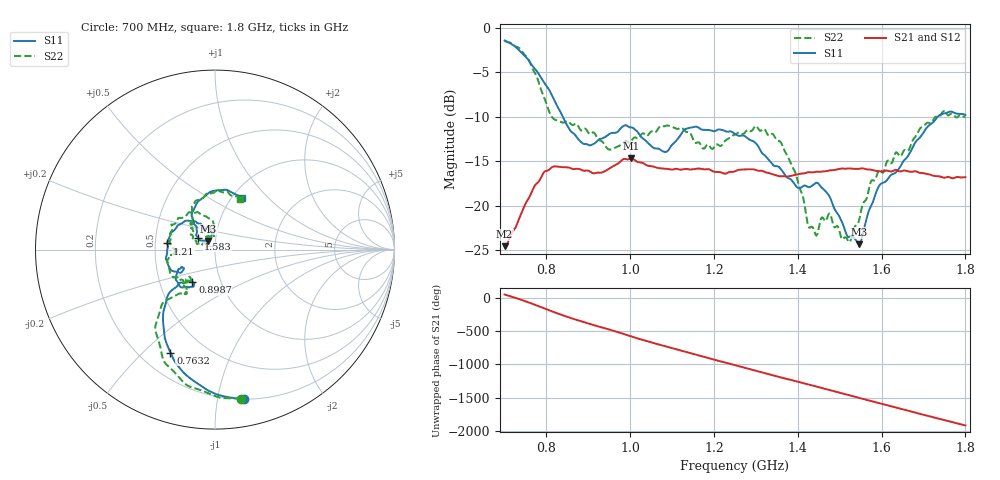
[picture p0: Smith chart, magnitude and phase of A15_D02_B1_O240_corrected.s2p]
! Created with skrf 1.9.0 (http://scikit-rf.org).
# Hz S RI R 50.0
!freq ReS11 ImS11 ReS21 ImS21 ReS12 ImS12 ReS22 ImS22
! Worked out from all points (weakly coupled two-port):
!   1601 points, 700 MHz to 1.8 GHz, reference 50 ohm
!   highest |S21| = -14.68 dB at 1.002 GHz (marker M1); lowest = -24.5 dB at 700 MHz (marker M2)
!   lowest |S11| = -24.3 dB at 1.547 GHz (marker M3), VSWR 1.13, Z = 46.2 + j4.44 ohm
!   |S11| at or under -10 dB: 839 MHz to 1.734 GHz (894.7 MHz wide, 69.6 % of centre)
!   |S22| runs from -24.1 to -1.5 dB; largest |S21 - S12| = 0.0034
!   S11 on the Smith chart (normalised r, x): 700 MHz: 0.20, -1.19; 763.2 MHz: 0.32, -0.61; 898.7 MHz: 0.73, -0.28; 1.21 GHz: 0.58, +0.04; 1.583 GHz: 0.82, +0.10; 1.8 GHz: 1.11, +0.71
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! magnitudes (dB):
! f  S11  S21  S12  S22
! 700 MHz  -1.4  -24.5  -24.3  -1.5
! 763.2 MHz  -4.1  -18.6  -18.6  -4.2
! 814.1 MHz  -7.7  -15.6  -15.7  -10.1
! 883.6 MHz  -12.9  -16.0  -15.9  -11.5
! 898.7 MHz  -13.1  -16.0  -16.1  -11.7
! 950.9 MHz  -11.9  -15.8  -15.8  -13.7
! 1.002 GHz  -11.2  -14.7  -14.8  -12.7
! 1.067 GHz  -13.6  -15.8  -15.7  -11.3
! 1.137 GHz  -11.3  -15.9  -15.9  -11.7
! 1.21 GHz  -11.4  -16.2  -16.2  -13.1
! 1.25 GHz  -11.9  -16.1  -16.0  -12.0
! 1.3 GHz  -13.0  -16.0  -16.0  -11.0
! 1.359 GHz  -15.8  -16.7  -16.7  -12.8
! 1.394 GHz  -17.7  -16.5  -16.5  -16.2
! 1.434 GHz  -17.8  -16.2  -16.2  -22.4
! 1.476 GHz  -18.9  -16.0  -16.0  -20.9
! 1.522 GHz  -23.5  -15.8  -15.8  -24.1
! 1.547 GHz  -24.3  -15.8  -15.8  -21.5
! 1.583 GHz  -19.1  -16.0  -16.0  -17.2
! 1.617 GHz  -16.8  -16.1  -16.1  -15.0
! 1.737 GHz  -9.9  -16.7  -16.7  -10.1
! 1.8 GHz  -9.8  -16.8  -16.8  -10.0
